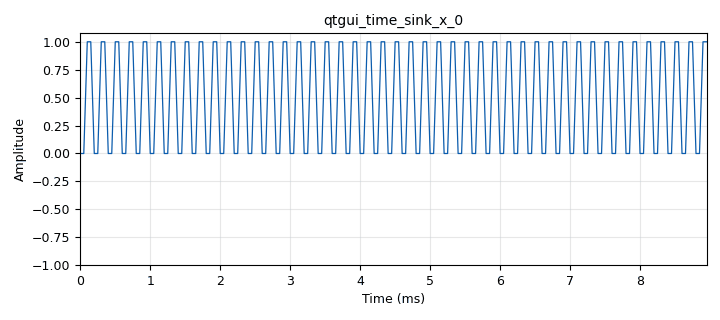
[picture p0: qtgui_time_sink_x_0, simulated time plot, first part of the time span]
options:
  parameters:
    author: fuguru
    generate_options: qt_gui
    id: packet_detector_test
    output_language: python
    title: Not titled yet
  states: {}

blocks:
- name: samp_rate
  id: variable
  parameters:
    value: '20000'
  states: {}
- name: amr_packet_detector_0
  id: amr_packet_detector
  parameters:
    sample_rate: samp_rate
  states: {}
- name: analog_sig_source_x_0
  id: analog_sig_source_x
  parameters:
    amp: '1'
    freq: samp_rate/4
    offset: '0'
    phase: '0'
    samp_rate: samp_rate
    type: float
    waveform: analog.GR_SQR_WAVE
  states: {}
- name: blocks_message_debug_0
  id: blocks_message_debug
  parameters: {}
  states: {}
- name: blocks_throttle_0
  id: blocks_throttle
  parameters:
    samples_per_second: samp_rate
    type: float
  states: {}
- name: qtgui_time_sink_x_0
  id: qtgui_time_sink_x
  parameters:
    grid: 'True'
    size: '2048'
    srate: samp_rate
    type: float
    update_time: '0.1'
  states: {}

connections:
- [amr_packet_detector_0, pdu, blocks_message_debug_0, print]
- [analog_sig_source_x_0, '0', blocks_throttle_0, '0']
- [blocks_throttle_0, '0', amr_packet_detector_0, '0']
- [blocks_throttle_0, '0', qtgui_time_sink_x_0, '0']

metadata:
  file_format: 1
